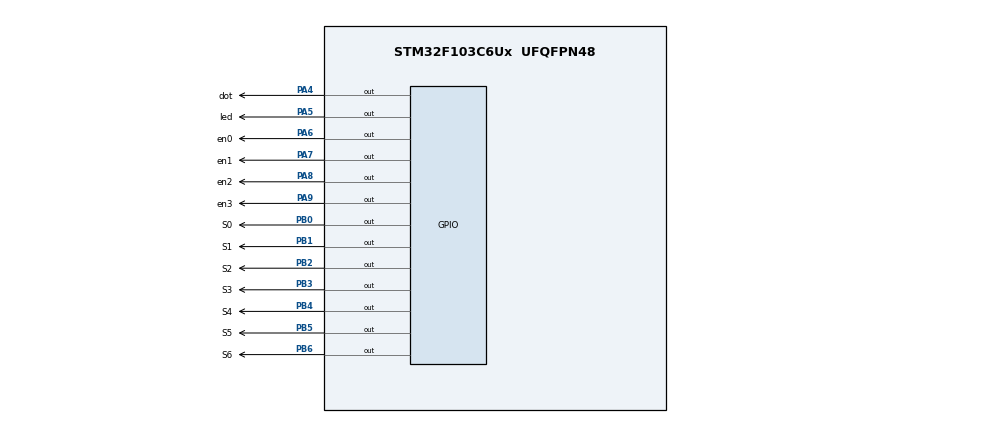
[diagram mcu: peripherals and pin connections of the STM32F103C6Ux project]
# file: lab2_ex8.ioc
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Mcu.Family=STM32F1
Mcu.Name=STM32F103C6Ux
Mcu.Package=UFQFPN48
NVIC.PriorityGroup=NVIC_PRIORITYGROUP_4
NVIC.TIM2_IRQn=true\:0\:0\:false\:false\:true\:true\:true
PA4.GPIO_Label=dot
PA4.Signal=GPIO_Output
PA5.GPIO_Label=led
PA5.Signal=GPIO_Output
PA6.GPIO_Label=en0
PA6.Signal=GPIO_Output
PA7.GPIO_Label=en1
PA7.Signal=GPIO_Output
PA8.GPIO_Label=en2
PA8.Signal=GPIO_Output
PA9.GPIO_Label=en3
PA9.Signal=GPIO_Output
PB0.GPIO_Label=S0
PB0.Signal=GPIO_Output
PB1.GPIO_Label=S1
PB1.Signal=GPIO_Output
PB2.GPIO_Label=S2
PB2.Signal=GPIO_Output
PB3.GPIO_Label=S3
PB3.Signal=GPIO_Output
PB4.GPIO_Label=S4
PB4.Signal=GPIO_Output
PB5.GPIO_Label=S5
PB5.Signal=GPIO_Output
PB6.GPIO_Label=S6
PB6.Signal=GPIO_Output
ProjectManager.HeapSize=0x200
ProjectManager.StackSize=0x400
ProjectManager.TargetToolchain=STM32CubeIDE
RCC.APB1Freq_Value=8000000
RCC.APB2Freq_Value=8000000
TIM2.Period=9
TIM2.Prescaler=7999
VP_SYS_VS_ND.Mode=No_Debug
VP_TIM2_VS_ClockSourceINT.Mode=Internal
board=custom

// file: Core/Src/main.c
/* USER CODE BEGIN Header */
/**
  ******************************************************************************
  * @file           : main.c
  * @brief          : Main program body
  ******************************************************************************
  * @attention
  *
  * <h2><center>&copy; Copyright (c) 2022 STMicroelectronics.
  * All rights reserved.</center></h2>
  *
  * This software component is licensed by ST under BSD 3-Clause license,
  * the "License"; You may not use this file except in compliance with the
  * License. You may obtain a copy of the License at:
  *                        opensource.org/licenses/BSD-3-Clause
  *
  ******************************************************************************
  */
/* USER CODE END Header */
#include "main.h"

TIM_HandleTypeDef htim2;

void SystemClock_Config(void);
static void MX_GPIO_Init(void);
static void MX_TIM2_Init(void);

/* USER CODE BEGIN 0 */
void updateClockBuffer();
void display7SEG(int num);
void update7SEG(int index);

//update7SEG
const int MAX_LED = 4;
int index_led = 0;
int led_buffer[4] = {1, 2, 3, 4};

//updateClockBuffer
int hour = 15 , minute = 8 , second = 50;

//setTimer0
int timer0_counter = 0;
int timer0_flag = 0;

//setTimer1
int timer1_counter = 0;
int timer1_flag = 0;

int TIMER_CYCLE = 10;

void setTimer0(int duration) {
	timer0_counter = duration / TIMER_CYCLE ;
	timer0_flag = 0;
}

void setTimer1(int duration) {
	timer1_counter = duration / TIMER_CYCLE;
	timer1_flag = 0;
}

void timer_run() {
	if(timer0_counter > 0) {
		timer0_counter--;
		if(timer0_counter == 0)
			timer0_flag = 1;
	}

	if(timer1_counter > 0) {
		timer1_counter--;
		if(timer1_counter == 0)
			timer1_flag = 1;
	}
}
/* USER CODE END 0 */

int main(void)
{

  /* MCU Configuration--------------------------------------------------------*/

  /* Reset of all peripherals, Initializes the Flash interface and the Systick. */
  HAL_Init();

  /* Configure the system clock */
  SystemClock_Config();

  /* Initialize all configured peripherals */
  MX_GPIO_Init();
  MX_TIM2_Init();
  /* USER CODE BEGIN 2 */
  HAL_TIM_Base_Start_IT(& htim2);
  setTimer0(10);
  setTimer1(10);
  /* USER CODE END 2 */

  /* Infinite loop */
  while (1)
  {

    /* USER CODE BEGIN 3 */
	  if(timer0_flag == 1) {
		  second++;
		  if (second >= 60) {
			  second = 0;
			  minute ++;
		  }
		  if(minute >= 60) {
			  minute = 0;
			  hour ++;
		  }
		  if(hour >= 24) {
			  hour = 0;
		  }
		  updateClockBuffer();
		  HAL_GPIO_TogglePin(GPIOA, dot_Pin);
		  setTimer0(1000);
	  }

	  if(timer1_flag == 1) {
		  update7SEG(index_led);
		  setTimer1(250);
	  }
  }
  /* USER CODE END 3 */
}

void SystemClock_Config(void)
{
  RCC_OscInitTypeDef RCC_OscInitStruct = {0};
  RCC_ClkInitTypeDef RCC_ClkInitStruct = {0};

  /** Initializes the RCC Oscillators according to the specified parameters
  * in the RCC_OscInitTypeDef structure.
  */
  RCC_OscInitStruct.OscillatorType = RCC_OSCILLATORTYPE_HSI;
  RCC_OscInitStruct.HSIState = RCC_HSI_ON;
  RCC_OscInitStruct.HSICalibrationValue = RCC_HSICALIBRATION_DEFAULT;
  RCC_OscInitStruct.PLL.PLLState = RCC_PLL_NONE;
  if (HAL_RCC_OscConfig(&RCC_OscInitStruct) != HAL_OK)
  {
    Error_Handler();
  }
  /** Initializes the CPU, AHB and APB buses clocks
  */
  RCC_ClkInitStruct.ClockType = RCC_CLOCKTYPE_HCLK|RCC_CLOCKTYPE_SYSCLK
                              |RCC_CLOCKTYPE_PCLK1|RCC_CLOCKTYPE_PCLK2;
  RCC_ClkInitStruct.SYSCLKSource = RCC_SYSCLKSOURCE_HSI;
  RCC_ClkInitStruct.AHBCLKDivider = RCC_SYSCLK_DIV1;
  RCC_ClkInitStruct.APB1CLKDivider = RCC_HCLK_DIV1;
  RCC_ClkInitStruct.APB2CLKDivider = RCC_HCLK_DIV1;

  if (HAL_RCC_ClockConfig(&RCC_ClkInitStruct, FLASH_LATENCY_0) != HAL_OK)
  {
    Error_Handler();
  }
}

static void MX_TIM2_Init(void)
{

  TIM_ClockConfigTypeDef sClockSourceConfig = {0};
  TIM_MasterConfigTypeDef sMasterConfig = {0};

  htim2.Instance = TIM2;
  htim2.Init.Prescaler = 7999;
  htim2.Init.CounterMode = TIM_COUNTERMODE_UP;
  htim2.Init.Period = 9;
  htim2.Init.ClockDivision = TIM_CLOCKDIVISION_DIV1;
  htim2.Init.AutoReloadPreload = TIM_AUTORELOAD_PRELOAD_DISABLE;
  if (HAL_TIM_Base_Init(&htim2) != HAL_OK)
  {
    Error_Handler();
  }
  sClockSourceConfig.ClockSource = TIM_CLOCKSOURCE_INTERNAL;
  if (HAL_TIM_ConfigClockSource(&htim2, &sClockSourceConfig) != HAL_OK)
  {
    Error_Handler();
  }
  sMasterConfig.MasterOutputTrigger = TIM_TRGO_RESET;
  sMasterConfig.MasterSlaveMode = TIM_MASTERSLAVEMODE_DISABLE;
  if (HAL_TIMEx_MasterConfigSynchronization(&htim2, &sMasterConfig) != HAL_OK)
  {
    Error_Handler();
  }

}

static void MX_GPIO_Init(void)
{
  GPIO_InitTypeDef GPIO_InitStruct = {0};

  /* GPIO Ports Clock Enable */
  __HAL_RCC_GPIOA_CLK_ENABLE();
  __HAL_RCC_GPIOB_CLK_ENABLE();

  /*Configure GPIO pin Output Level */
  HAL_GPIO_WritePin(GPIOA, dot_Pin|led_Pin|en0_Pin|en1_Pin
                          |en2_Pin|en3_Pin, GPIO_PIN_RESET);

  /*Configure GPIO pin Output Level */
  HAL_GPIO_WritePin(GPIOB, S0_Pin|S1_Pin|S2_Pin|S3_Pin
                          |S4_Pin|S5_Pin|S6_Pin, GPIO_PIN_RESET);

  /*Configure GPIO pins : dot_Pin led_Pin en0_Pin en1_Pin
                           en2_Pin en3_Pin */
  GPIO_InitStruct.Pin = dot_Pin|led_Pin|en0_Pin|en1_Pin
                          |en2_Pin|en3_Pin;
  GPIO_InitStruct.Mode = GPIO_MODE_OUTPUT_PP;
  GPIO_InitStruct.Pull = GPIO_NOPULL;
  GPIO_InitStruct.Speed = GPIO_SPEED_FREQ_LOW;
  HAL_GPIO_Init(GPIOA, &GPIO_InitStruct);

  /*Configure GPIO pins : S0_Pin S1_Pin S2_Pin S3_Pin
                           S4_Pin S5_Pin S6_Pin */
  GPIO_InitStruct.Pin = S0_Pin|S1_Pin|S2_Pin|S3_Pin
                          |S4_Pin|S5_Pin|S6_Pin;
  GPIO_InitStruct.Mode = GPIO_MODE_OUTPUT_PP;
  GPIO_InitStruct.Pull = GPIO_NOPULL;
  GPIO_InitStruct.Speed = GPIO_SPEED_FREQ_LOW;
  HAL_GPIO_Init(GPIOB, &GPIO_InitStruct);

}

/* USER CODE BEGIN 4 */
void display7SEG(int num) {
	int dis_arr[10] = { 0x3f, 0x06, 0x5b, 0x4f, 0x66, 0x6d, 0x7d, 0x07, 0x7f, 0x6f };
	int bit_var, var2;

	var2 = ~dis_arr[num];
	bit_var = var2 & 0x01;
	HAL_GPIO_WritePin(GPIOB, S0_Pin, bit_var);

	bit_var = (var2>>1) & 0x01;
	HAL_GPIO_WritePin(GPIOB, S1_Pin, bit_var);

	bit_var = (var2>>2) & 0x01;
	HAL_GPIO_WritePin(GPIOB, S2_Pin, bit_var);

	bit_var = (var2>>3) & 0x01;
	HAL_GPIO_WritePin(GPIOB, S3_Pin, bit_var);

	bit_var = (var2>>4) & 0x01;
	HAL_GPIO_WritePin(GPIOB, S4_Pin, bit_var);

	bit_var = (var2>>5) & 0x01;
	HAL_GPIO_WritePin(GPIOB, S5_Pin, bit_var);

	bit_var = (var2>>6) & 0x01;
	HAL_GPIO_WritePin(GPIOB, S6_Pin, bit_var);
}

void update7SEG(int index) {
	switch(index) {
	case 0:
	// Display the first 7 SEG with led_buffer [0]
		display7SEG(led_buffer[index]);
		index_led = 1;
		HAL_GPIO_WritePin(GPIOA, en0_Pin, RESET);
		HAL_GPIO_WritePin(GPIOA, en1_Pin, SET);
		HAL_GPIO_WritePin(GPIOA, en2_Pin, SET);
		HAL_GPIO_WritePin(GPIOA, en3_Pin, SET);
		break ;
	case 1:
	 // Display the second 7 SEG with led_buffer [1]
		display7SEG(led_buffer[index]);
		index_led = 2;
		HAL_GPIO_WritePin(GPIOA, en0_Pin, SET);
		HAL_GPIO_WritePin(GPIOA, en1_Pin, RESET);
		HAL_GPIO_WritePin(GPIOA, en2_Pin, SET);
		HAL_GPIO_WritePin(GPIOA, en3_Pin, SET);
		break ;
	case 2:
	// Display the third 7 SEG with led_buffer [2]
		display7SEG(led_buffer[index]);
		index_led = 3;
		HAL_GPIO_WritePin(GPIOA, en0_Pin, SET);
		HAL_GPIO_WritePin(GPIOA, en1_Pin, SET);
		HAL_GPIO_WritePin(GPIOA, en2_Pin, RESET);
		HAL_GPIO_WritePin(GPIOA, en3_Pin, SET);
		break ;
	case 3:
	// Display the forth 7 SEG with led_buffer [3]
		display7SEG(led_buffer[index]);
		index_led = 0;
		HAL_GPIO_WritePin(GPIOA, en0_Pin, SET);
		HAL_GPIO_WritePin(GPIOA, en1_Pin, SET);
		HAL_GPIO_WritePin(GPIOA, en2_Pin, SET);
		HAL_GPIO_WritePin(GPIOA, en3_Pin, RESET);
		break ;
	default :
		break ;
	}
}

void HAL_TIM_PeriodElapsedCallback(TIM_HandleTypeDef *htim) {
	timer_run();
}

void updateClockBuffer() {
	//update hour
	if(hour >= 10)
		led_buffer[0] = hour/10;
	else
		led_buffer[0] = 0;
	led_buffer[1] = hour%10;

	//update minute
	if(minute >= 10)
		led_buffer[2] = minute/10;
	else
		led_buffer[2] = 0;
	led_buffer[3] = minute%10;
}

void displayLEDMatrix(int num) {
	int dis_arr[8] = {0x18,0x24,0x42,0x42,0x7E,0x42,0x42,0x42};
	int bit_var, var2;

	var2 = ~dis_arr[num];
	bit_var = var2 & 0x01;
	HAL_GPIO_WritePin(GPIOB, S0_Pin, bit_var);

	bit_var = (var2>>1) & 0x01;
	HAL_GPIO_WritePin(GPIOB, S1_Pin, bit_var);

	bit_var = (var2>>2) & 0x01;
	HAL_GPIO_WritePin(GPIOB, S2_Pin, bit_var);

	bit_var = (var2>>3) & 0x01;
	HAL_GPIO_WritePin(GPIOB, S3_Pin, bit_var);

	bit_var = (var2>>4) & 0x01;
	HAL_GPIO_WritePin(GPIOB, S4_Pin, bit_var);

	bit_var = (var2>>5) & 0x01;
	HAL_GPIO_WritePin(GPIOB, S5_Pin, bit_var);

	bit_var = (var2>>6) & 0x01;
	HAL_GPIO_WritePin(GPIOB, S6_Pin, bit_var);

	bit_var = (var2>>7) & 0x01;
	HAL_GPIO_WritePin(GPIOB, S7_Pin, bit_var);
}

const int MAX_LED_MATRIX = 8;
int index_led_matrix = 0;
uint8_t matrix_buffer[8] = {0x18,0x24,0x42,0x42,0x7E,0x42,0x42,0x42};
void updateLEDMatrix (int index) {
	switch (index) {
		case 0:
			displayLEDMatrix(matrix_buffer[index]);
			index = 1;
			break ;
		case 1:
			displayLEDMatrix(matrix_buffer[index]);
			index = 1;
			break ;
		case 2:
			displayLEDMatrix(matrix_buffer[index]);
			index = 1;
			break ;
		case 3:
			displayLEDMatrix(matrix_buffer[index]);
			index = 1;
			break ;
		case 4:
			displayLEDMatrix(matrix_buffer[index]);
			index = 1;
			break ;
		case 5:
			displayLEDMatrix(matrix_buffer[index]);
			index = 1;
			break ;
		case 6:
			displayLEDMatrix(matrix_buffer[index]);
			index = 1;
			break ;
		case 7:
			displayLEDMatrix(matrix_buffer[index]);
			index = 1;
			break ;
		default :
			break ;
	}
}
/* USER CODE END 4 */

void Error_Handler(void)
{
  __disable_irq();
  while (1)
  {
  }
}

/************************ (C) COPYRIGHT STMicroelectronics *****END OF FILE****/
